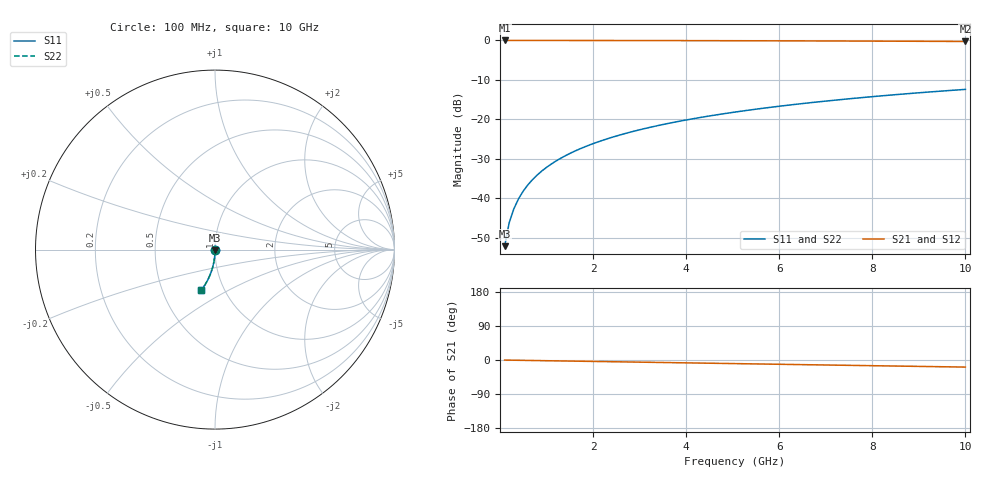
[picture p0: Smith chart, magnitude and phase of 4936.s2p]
# Hz S RI R 50.00
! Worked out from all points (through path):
!   100 points, 100 MHz to 10 GHz, reference 50 ohm
!   highest |S21| = 0.00 dB at 100 MHz (marker M1); lowest = -0.3 dB at 10 GHz (marker M2)
!   group delay of S21, straight-line fit = 5.21 ps
!   lowest |S11| = -52.2 dB at 100 MHz (marker M3), VSWR 1.00, Z = 50 - j0.245 ohm
!   |S11| at or under -10 dB: start of sweep to end of sweep
!   |S22| runs from -52.2 to -12.4 dB; largest |S21 - S12| = 0
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1e8  0.000121 -0.00245  0.9999 -0.00328  0.9999 -0.00328  0.000121 -0.00245
2e8  9.49e-05 -0.0049  0.9998 -0.00657  0.9998 -0.00657  9.49e-05 -0.0049
3e8  5.25e-05 -0.00736  0.9998 -0.00985  0.9998 -0.00985  5.25e-05 -0.00736
4e8  -6.16e-06 -0.00981  0.9997 -0.0131  0.9997 -0.0131  -6.16e-06 -0.00981
5e8  -8.1e-05 -0.0123  0.9996 -0.0164  0.9996 -0.0164  -8.1e-05 -0.0123
6e8  -0.000172 -0.0147  0.9995 -0.0197  0.9995 -0.0197  -0.000172 -0.0147
7e8  -0.000279 -0.0172  0.9994 -0.023  0.9994 -0.023  -0.000279 -0.0172
8e8  -0.000402 -0.0196  0.9993 -0.0263  0.9993 -0.0263  -0.000402 -0.0196
9e8  -0.000542 -0.0221  0.9992 -0.0295  0.9992 -0.0295  -0.000542 -0.0221
1.1e9  -0.000869 -0.027  0.9988 -0.0361  0.9988 -0.0361  -0.000869 -0.027
1.4e9  -0.00148 -0.0343  0.9982 -0.046  0.9982 -0.046  -0.00148 -0.0343
1.8e9  -0.00252 -0.0441  0.9971 -0.0591  0.9971 -0.0591  -0.00252 -0.0441
2.1e9  -0.00347 -0.0514  0.9961 -0.0689  0.9961 -0.0689  -0.00347 -0.0514
2.5e9  -0.00496 -0.0611  0.9945 -0.0819  0.9945 -0.0819  -0.00496 -0.0611
2.9e9  -0.00671 -0.0708  0.9927 -0.0949  0.9927 -0.0949  -0.00671 -0.0708
3.4e9  -0.00925 -0.0828  0.9901 -0.1111  0.9901 -0.1111  -0.00925 -0.0828
4.2e9  -0.0141 -0.1018  0.985 -0.1369  0.985 -0.1369  -0.0141 -0.1018
5.1e9  -0.0208 -0.1229  0.978 -0.1655  0.978 -0.1655  -0.0208 -0.1229
5.9e9  -0.0277 -0.1412  0.9707 -0.1906  0.9707 -0.1906  -0.0277 -0.1412
6.7e9  -0.0356 -0.159  0.9625 -0.2152  0.9625 -0.2152  -0.0356 -0.159
8.4e9  -0.0552 -0.1952  0.942 -0.2659  0.942 -0.2659  -0.0552 -0.1952
1e10  -0.0769 -0.2267  0.9192 -0.3113  0.9192 -0.3113  -0.0769 -0.2267
